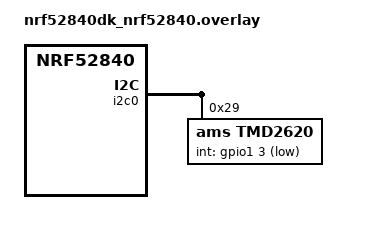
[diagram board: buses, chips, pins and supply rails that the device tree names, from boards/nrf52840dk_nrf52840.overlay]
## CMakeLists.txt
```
# SPDX-License-Identifier: Apache-2.0

cmake_minimum_required(VERSION 3.28.0)
find_package(Zephyr REQUIRED HINTS $ENV{ZEPHYR_BASE})
project(tmd2620_sample)

FILE(GLOB app_sources src/*.c)
target_sources(app PRIVATE ${app_sources})
```

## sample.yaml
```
sample:
  name: Proximity sensor polling sample
tests:
  sample.sensor.proximity_polling:
    harness: sensor
    tags:
      - sensors
      - proximity
    filter: dt_alias_exists("prox-sensor0")
    integration_platforms:
      - nrf52840dk/nrf52840
      - mikroe_clicker_ra4m1/r7fa4m1ab3cfm # mikroe_proximity_9_click shield
    extra_args:
      - platform:mikroe_clicker_ra4m1/r7fa4m1ab3cfm:SHIELD="mikroe_proximity_9_click"
```

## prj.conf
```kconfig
CONFIG_PRINTK=y
CONFIG_GPIO=y
CONFIG_I2C=y
CONFIG_SENSOR=y

CONFIG_LOG=y
CONFIG_SENSOR_LOG_LEVEL_INF=y
CONFIG_I2C_LOG_LEVEL_INF=y

CONFIG_PM_DEVICE=n
```

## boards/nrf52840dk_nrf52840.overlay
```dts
/ {
	aliases {
		prox-sensor0 = &tmd2620;
	};
};

&i2c0 {
	status = "okay";

	tmd2620: tmd2620@29 {
		compatible = "ams,tmd2620";
		reg = <0x29>;
		int-gpios = <&gpio1 3 (GPIO_ACTIVE_LOW | GPIO_PULL_UP)>;
		proximity-gain = <4>;
		proximity-pulse-length = <16>;
		proximity-pulse-count = <15>;
		proximity-high-threshold = <255>;
		proximity-low-threshold = <0>;
		proximity-led-drive-strength = <4>;
		proximity-interrupt-filter = <0>;
		wait-time-factor = <0>;
		status = "okay";
	};
};
```

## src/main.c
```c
/*
 * Copyright (c) 2023 Phytec Messtechnik GmbH
 *
 * SPDX-License-Identifier: Apache-2.0
 */

#include <zephyr/kernel.h>
#include <zephyr/sys/util_macro.h>
#include <zephyr/drivers/sensor.h>
#include <zephyr/device.h>
#include <zephyr/pm/device.h>
#include <zephyr/sys/printk.h>

/* getting all devices from device tree with alias "prox_sensor?" */
#define PROX_ALIASES(i) DT_ALIAS(_CONCAT(prox_sensor, i))
#define PROX_DEVICES(i, _) \
	IF_ENABLED(DT_NODE_EXISTS(PROX_ALIASES(i)),\
	(DEVICE_DT_GET(PROX_ALIASES(i)),))

/* creating a list with the first 10 devices */
static const struct device *prox_devices[] = {
	LISTIFY(10, PROX_DEVICES, ())
};

void print_prox_data(void)
{
	struct sensor_value pdata;

	for (int i = 0; i < ARRAY_SIZE(prox_devices); i++) {
		const struct device *dev = prox_devices[i];

		if (sensor_sample_fetch(dev)) {
			printk("Failed to fetch sample from %s\n", dev->name);
		}

		sensor_channel_get(dev, SENSOR_CHAN_PROX, &pdata);
		printk("Proximity on %s: %d\n", dev->name, pdata.val1);
	}
}

int main(void)
{
	printk("Proximity sensor sample application\n");
	printk("Found %d proximity sensor(s): ", ARRAY_SIZE(prox_devices));
	for (int i = 0; i < ARRAY_SIZE(prox_devices); i++) {
		printk("%s ", prox_devices[i]->name);
	}
	printk("\n");

	while (true) {
		k_sleep(K_MSEC(2000));
		print_prox_data();
	}
	return 0;
}
```
